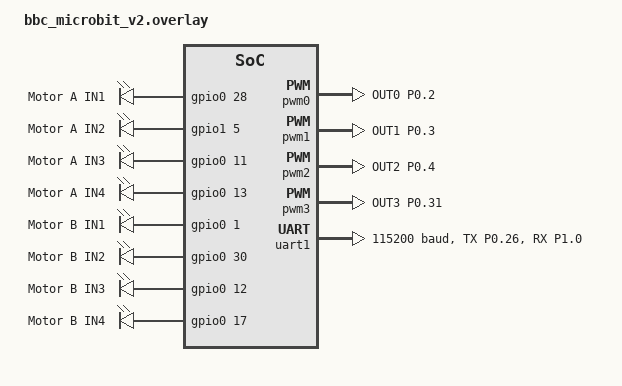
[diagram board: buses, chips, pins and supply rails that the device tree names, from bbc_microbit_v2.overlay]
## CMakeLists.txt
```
cmake_minimum_required(VERSION 3.20.0)
find_package(Zephyr REQUIRED HINTS $ENV{ZEPHYR_BASE})

project(Driving_car)

target_sources(app PRIVATE src/main.c src/pwm.c src/motor_controls.c src/serial.c src/gatekeeper.c src/car_control.c src/receiver_ble.c)
```

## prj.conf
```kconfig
CONFIG_GPIO=y
CONFIG_PWM=y
CONFIG_PRINTK=y
CONFIG_SERIAL=y
CONFIG_LOG=y
CONFIG_UART_INTERRUPT_DRIVEN=y

#wang

CONFIG_CONSOLE=y
CONFIG_UART_CONSOLE=y
CONFIG_SYSTEM_WORKQUEUE_STACK_SIZE=2048
CONFIG_MAIN_STACK_SIZE=2048
CONFIG_HEAP_MEM_POOL_SIZE=4096

# Bluetooth - Central (receiver scanner)
CONFIG_BT=y
CONFIG_BT_CENTRAL=y
CONFIG_BT_DEVICE_NAME="BLE_Car"
CONFIG_BT_MAX_CONN=1
CONFIG_BT_GATT_CLIENT=y
CONFIG_BT_GATT_DYNAMIC_DB=y

# Buffer
CONFIG_BT_L2CAP_TX_BUF_COUNT=8
CONFIG_BT_L2CAP_TX_MTU=65
CONFIG_BT_BUF_ACL_RX_SIZE=70
CONFIG_BT_BUF_ACL_TX_SIZE=27

# Connection timeout
CONFIG_BT_CREATE_CONN_TIMEOUT=15

# Scan
CONFIG_BT_SCAN=y
```

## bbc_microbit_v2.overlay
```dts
/{
    motor_direction_pins{

        compatible = "gpio-leds";
        motor_a_in1: motor_a_in1 {
            gpios = <&gpio0 28 0>; // edgeconnector P4;
            label = "Motor A IN1";
        };
        motor_a_in2: motor_a_in2 {
            gpios = <&gpio1 5 0>; // edgeconnector P6;
            label = "Motor A IN2";
        };
        motor_a_in3: motor_a_in3 {
            gpios = <&gpio0 11 0>; // edgeconnector P7;
            label = "Motor A IN3";
        };
        motor_a_in4: motor_a_in4 {
            gpios = <&gpio0 13 0>; // edgeconnector P15;
            label = "Motor A IN4";
        };
        motor_b_in1: motor_b_in1 {
            gpios = <&gpio0 1 0>; // edgeconnector P14
            label = "Motor B IN1";
        };
        motor_b_in2: motor_b_in2 {
            gpios = <&gpio0 30 0>; // edgeconnector P10
            label = "Motor B IN2";
        };
        motor_b_in3: motor_b_in3 {
            gpios = <&gpio0 12 0>; // edgeconnector P12;
            label = "Motor B IN3";
        };
        motor_b_in4: motor_b_in4 {
            gpios = <&gpio0 17 0>; // edgeconnector P13;
            label = "Motor B IN4";
        };
    };
};

&i2c1 { status = "disabled"; };
&spi1 { status = "disabled"; };
&adc { status = "disabled"; };





&pinctrl {
    pwm0_default_alt: pwm0_default_alt {
        group1 {
            psels = <NRF_PSEL(PWM_OUT0, 0, 2)>; //on edgeconnector P0
            nordic,invert;
        };
    };
    pwm0_sleep_alt: pwm0_sleep_alt {
        group1 {
            psels = <NRF_PSEL(PWM_OUT0, 0, 2)>; //on edgeconnector P0
            low-power-enable;
        };
    };

    pwm1_default_alt: pwm1_default_alt {
        group1 {
            psels = <NRF_PSEL(PWM_OUT1, 0, 3)>; //on edgeconnector P1
            nordic,invert;
        };
    };

    pwm1_sleep_alt: pwm1_sleep_alt {
        group1 {
            psels = <NRF_PSEL(PWM_OUT1, 0, 3)>; //on edgeconnector P1
            low-power-enable;
        };
    };

    pwm2_default_alt: pwm2_default_alt {
        group1 {
            psels = <NRF_PSEL(PWM_OUT2, 0, 4)>; //on edgeconnector P2
            nordic,invert;
        };
    };

    pwm2_sleep_alt: pwm2_sleep_alt {
        group1 {
            psels = <NRF_PSEL(PWM_OUT2, 0, 4)>; //on edgeconnector P2
            low-power-enable;
        };
    };

    pwm3_default_alt: pwm3_default_alt {
        group1 {
            psels = <NRF_PSEL(PWM_OUT3, 0, 31)>; //on edgeconnector P3
            nordic,invert;
        };
    };

    pwm3_sleep_alt: pwm3_sleep_alt {
        group1 {
            psels = <NRF_PSEL(PWM_OUT3, 0, 31)>; //on edgeconnector P3
            low-power-enable;
        };
    };

    uart1_default: uart1_default {
        group1 {
            psels = <NRF_PSEL(UART_TX, 0, 26)>, 
                    <NRF_PSEL(UART_RX, 1, 0)>;
        };
    };

    uart1_sleep: uart1_sleep {
        group1 {
            psels = <NRF_PSEL(UART_TX, 0, 26)>,
                    <NRF_PSEL(UART_RX, 1, 0)>;
            low-power-enable;
        };
    };
};


&pwm0 {
    status = "okay";
    pinctrl-0 = <&pwm0_default_alt>;
    pinctrl-1 = <&pwm0_sleep_alt>;
    pinctrl-names = "default", "sleep";
    label = "PWM_0";
};
&pwm1 {
    status = "okay";
    pinctrl-0 = <&pwm1_default_alt>;
    pinctrl-1 = <&pwm1_sleep_alt>;
    pinctrl-names = "default", "sleep";
    label = "PWM_1";
};
&pwm2 {
    status = "okay";
    pinctrl-0 = <&pwm2_default_alt>;
    pinctrl-1 = <&pwm2_sleep_alt>;
    pinctrl-names = "default", "sleep";
    label = "PWM_2";
};
&pwm3 {
    status = "okay";
    pinctrl-0 = <&pwm3_default_alt>;
    pinctrl-1 = <&pwm3_sleep_alt>;
    pinctrl-names = "default", "sleep";
    label = "PWM_3";
};
&uart1 {
    status = "okay";
    current-speed = <115200>;
    pinctrl-0 = <&uart1_default>;
    pinctrl-1 = <&uart1_sleep>;
    pinctrl-names = "default", "sleep";
};
```

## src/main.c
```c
// Group project for Smart Systems 2025


#include <zephyr/kernel.h>
#include <zephyr/sys/printk.h>
#include <zephyr/drivers/gpio.h>
#include <zephyr/drivers/pwm.h>
#include <stdint.h>
#include "pwm.h"
#include "motor_controls.h"
#include "serial.h"
#include "gatekeeper.h"
#include <zephyr/device.h>
#include <zephyr/drivers/uart.h>
#include "car_control.h"

int main(void)
{
    
    Serial_begin(); 
    car_controller_init();
    car_controller_start();

    while (1) {
    car_controller_check_timeout();
    timeout_control();
    k_msleep(50);
    };
    
    return 0;
}

// int main(){
//     Serial_begin();
//     uart_send_str("F\n");
//     printk("Sent\n");
//     return 0;
// }
```

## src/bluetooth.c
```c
#include <zephyr/kernel.h>
#include <zephyr/sys/printk.h>
#include <zephyr/bluetooth/bluetooth.h>
#include <zephyr/bluetooth/conn.h>
#include <zephyr/bluetooth/uuid.h>
#include <zephyr/bluetooth/gatt.h>
#include <bluetooth/services/nus.h>

#include "bluetooth.h"
#include "motor_controls.h" // Access to Drive_motors()

static struct bt_conn_cb conn_callback = {
    .connected = connected;
    .disconnected = disconnected;
}

//function for bluetooth signal{
void bt_recive_cb(struct bt_conn *conn, const uint8_t *const data, uint16_t len){
    if (len == 0) {
        return;
    }
    if(command == 'M'){
        manual_overide_flag = !manual_overide_flag;

        if(manual_overide_flag){
            printk("Manual_mode_enabled\n");
        }else{
            printk("manual_mode_disabled\n");
        }
        return;
    }

    if(!manual_overide_flag){
        return;
    }

    switch(command){
        case 'F':
            Drive_motors(Forward, 100);
            break;
        case 'B':
            Drive_motors(Backward, 100);
            break;
        case 'L':
            Drive_motors(Left, 100);
            break;
        case 'R':
            Drive_motors(Right, 100);
            break;
        case 'S':
            Stop_motors();
            break;
        default:
        break;
    }
}
```

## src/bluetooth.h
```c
#ifndef BLUETOOTH_H
#define BLUETOOTH_H

#include <stdbool.h>

extern volatile bool manual_overide_flag;

int bluetooth_begin(void);

#endif
```

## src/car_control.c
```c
/*
* Author: Wang King Son
* Link to his github: https://github.com/WangKKing3
* 
* Acknowledgement:
* This file does use the motor_controls, pwm, and gatekeeper libraries that were produced by Oskaras Dauneckas
*/

#include <zephyr/kernel.h>
#include <zephyr/sys/printk.h>

#include "car_control.h"
#include "receiver_ble.h"
#include "motor_controls.h"
#include "gatekeeper.h"


#define TIMEOUT_MS 1000      /* Stopp motorene hvis ingen data på 1 sekund */

static Motor_direction current_dir = Stop;
static uint8_t current_speed = 0;
static int64_t last_rx = 0;
static bool motors_on = false;

static const char *dir_name(Motor_direction d)
{
    switch (d) {
        case Forward: return "FWD";
        case Backward: return "BWD";
        case Rotate_Right: return "ROT_R";
        case Rotate_Left: return "ROT_L";
        case Right: return "RIGHT";
        case Left: return "LEFT";
        case Stop: return "STOP";
        case Idle: return "IDLE";
        default: return "?";
    }
}

static void on_drive_data(Motor_direction dir, uint8_t speed)
{
    last_rx = k_uptime_get();

    

    if(dir == Idle){
        // printk("Ignoring IDLE command.\n");
        // Stop_motors();
        motors_on = false;
        return;
    }

    bluetouth_signal_recived();

    printk("[RX] %-5s %3d%%\n", dir_name(dir), speed);

    if(dir == Stop){
        if (motors_on) {
            Stop_motors();
            motors_on = false;
        }
    } else {
        Drive_motors(dir, speed);
        motors_on = true;
    }
}

int car_controller_init(void)
{
    printk("\n=== BLE Car Receiver ===\n");
    printk("Receives Motor_direction directly\n\n");

    /* Init motors */
    if (motors_start() != 0) {
        printk("Motor init failed\n");
        return -1;
    }
    printk("Motors ready\n");

    /* Init BLE */
    if (ble_init(on_drive_data) != 0) {
        printk("BLE init failed\n");
        return -1;
    }
    printk("BLE initialized\n");
    return 0;

}

void car_controller_start(void){
    ble_start_scan();
}

void car_controller_check_timeout(void){ 
    /* Main loop - bare timeout sjekk */
    if (last_rx > 0 && motors_on) {
        int64_t age = k_uptime_get() - last_rx;
        if (age > TIMEOUT_MS) {
            printk("[TIMEOUT] Stopping\n");
            Stop_motors();
            motors_on = false;
            
        }
    }
}
```

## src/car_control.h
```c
/*
* Author: Wang King Son
* Link to his github: https://github.com/WangKKing3
* 
* Acknowledgement:
* This file does use the motor_controls, pwm, and gatekeeper libraries that were produced by Oskaras Dauneckas
*/

#ifndef CAR_CONTROLLER_H
#define CAR_CONTROLLER_H

#include <stdint.h>

int car_controller_init(void);

void car_controller_start(void);

void car_controller_check_timeout(void);
#endif
```

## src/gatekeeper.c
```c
#include <zephyr/kernel.h>
#include <zephyr/sys/printk.h>
#include "gatekeeper.h"
#include "motor_controls.h"
#include "serial.h"

static bool bt_active = false;
static int64_t bt_timer_until_timeout = 0;

#define CONTROL_TIMEOUT_MS 500

void bluetouth_signal_recived(){
    bt_timer_until_timeout = k_uptime_get();
    if(!bt_active){
        printk("Bluetooth control activated.\n");
        bt_active = true;
        
    }
}

void bluetouth_release(){
    if(bt_active){
        bt_active = false;
        printk("Bluetooth control released.\n");
        execute_serial_last_action();
    }
}

void timeout_control(){
    if(bt_active){
        int64_t current_time = k_uptime_get();
        if(current_time - bt_timer_until_timeout >= CONTROL_TIMEOUT_MS){
            bt_active = false;
            printk("Bluetooth control deactivated due to timeout.\n");
            execute_serial_last_action();
        }
    }
}

bool bluetouth_in_control(){
    return bt_active;
}
```

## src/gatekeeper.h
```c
#ifndef GATEKEEPER_H
#define GATEKEEPER_H

#include <stdbool.h>

void bluetouth_signal_recived();
void bluetouth_release();
void timeout_control();

bool bluetouth_in_control();

#endif
```

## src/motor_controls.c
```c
#include <zephyr/kernel.h>
#include <zephyr/sys/printk.h>
#include <zephyr/drivers/gpio.h>
#include <zephyr/drivers/pwm.h>
#include <stdint.h>

#include "pwm.h"
#include "motor_controls.h"

static const struct gpio_dt_spec motor_a_in1 = GPIO_DT_SPEC_GET(DT_NODELABEL(motor_a_in1), gpios);
static const struct gpio_dt_spec motor_a_in2 = GPIO_DT_SPEC_GET(DT_NODELABEL(motor_a_in2), gpios);
static const struct gpio_dt_spec motor_a_in3 = GPIO_DT_SPEC_GET(DT_NODELABEL(motor_a_in3), gpios);
static const struct gpio_dt_spec motor_a_in4 = GPIO_DT_SPEC_GET(DT_NODELABEL(motor_a_in4), gpios);

static const struct gpio_dt_spec motor_b_in1 = GPIO_DT_SPEC_GET(DT_NODELABEL(motor_b_in1), gpios);
static const struct gpio_dt_spec motor_b_in2 = GPIO_DT_SPEC_GET(DT_NODELABEL(motor_b_in2), gpios);
static const struct gpio_dt_spec motor_b_in3 = GPIO_DT_SPEC_GET(DT_NODELABEL(motor_b_in3), gpios);
static const struct gpio_dt_spec motor_b_in4 = GPIO_DT_SPEC_GET(DT_NODELABEL(motor_b_in4), gpios);

typedef struct {
    const struct gpio_dt_spec *in1;
    const struct gpio_dt_spec *in2;
    int (*pwm_write)(uint32_t value);
} motor_channel_t;

static const motor_channel_t motors[] = {
    {&motor_a_in1, &motor_a_in2, pwm_write_front_a},
    {&motor_a_in3, &motor_a_in4, pwm_write_front_b},
    {&motor_b_in1, &motor_b_in2, pwm_write_back_a},
    {&motor_b_in3, &motor_b_in4, pwm_write_back_b}
};

static uint32_t percentage_to_pwm(uint32_t speed_percentage){
    if(speed_percentage > 100){
        speed_percentage = 100;
    }
    return (speed_percentage * pwm_period_ns) / 100;
}

int motors_start(){
    const struct gpio_dt_spec *gpio_pins[] = {
        &motor_a_in1, &motor_a_in2,
        &motor_a_in3, &motor_a_in4,
        &motor_b_in1, &motor_b_in2,
        &motor_b_in3, &motor_b_in4

    };
    int check = 0;

    for(size_t i = 0; i < ARRAY_SIZE(gpio_pins); i++){
        if (!gpio_is_ready_dt(gpio_pins[i])){
            printk("Error: One or more GPIO devices not ready.\n");
            return -1;
        }
        int check = gpio_pin_configure_dt(gpio_pins[i], GPIO_OUTPUT_INACTIVE);
        if(check < 0){
            printk("Error: Failed to configure GPIO pin %d.\n", i);
            return -1;
        }
    }

    if(pwm_begin() != 0){
        return -1;
    }
    return 0;
}

void Drive_one_motor(Motor_name motor, Motor_direction direction, uint32_t speed_percentage){
    if(motor >= ARRAY_SIZE(motors)){
        printk("Error: Invalid motor selection.\n");
        return; 
    }
    const motor_channel_t *selected_motor = &motors[motor];
    uint32_t pwm_value = percentage_to_pwm(speed_percentage);

    switch (direction){
        case Forward:
            gpio_pin_set_dt(selected_motor->in1, 1);
            gpio_pin_set_dt(selected_motor->in2, 0);
            break;
        case Backward:
            gpio_pin_set_dt(selected_motor->in1, 0);
            gpio_pin_set_dt(selected_motor->in2, 1);
            break;
        case Stop:
            gpio_pin_set_dt(selected_motor->in1, 0);
            gpio_pin_set_dt(selected_motor->in2, 0);
            pwm_value = 0;
            break;
        default:
            gpio_pin_set_dt(selected_motor->in1, 0);
            gpio_pin_set_dt(selected_motor->in2, 0);
            pwm_value = 0;
            break;
    }
    if(selected_motor->pwm_write(pwm_value) != 0){
    printk("Error: Failed to set PWM for motor %d.\n", motor);
    }
}

void Drive_motors(Motor_direction direction, uint32_t speed_percentage){
    if(direction == Stop){
        Stop_motors();
        return;
    }
    switch(direction){
        case Rotate_Right:
            Drive_one_motor(Motor_Left_Front, Forward, speed_percentage);
            Drive_one_motor(Motor_Left_Back, Forward, speed_percentage);
            Drive_one_motor(Motor_Right_Front, Backward, speed_percentage);
            Drive_one_motor(Motor_Right_Back, Backward, speed_percentage);
            return;
        case Rotate_Left:
            Drive_one_motor(Motor_Left_Front, Backward, speed_percentage);
            Drive_one_motor(Motor_Left_Back, Backward, speed_percentage);
            Drive_one_motor(Motor_Right_Front, Forward, speed_percentage);
            Drive_one_motor(Motor_Right_Back, Forward, speed_percentage);
            return;
        case Right:
            Drive_one_motor(Motor_Left_Front, Forward, speed_percentage);
            Drive_one_motor(Motor_Left_Back, Backward, speed_percentage);
            Drive_one_motor(Motor_Right_Front, Backward, speed_percentage);
            Drive_one_motor(Motor_Right_Back, Forward, speed_percentage);
            return;
        case Left:
            Drive_one_motor(Motor_Left_Front, Backward, speed_percentage);
            Drive_one_motor(Motor_Left_Back, Forward, speed_percentage);
            Drive_one_motor(Motor_Right_Front, Forward, speed_percentage);
            Drive_one_motor(Motor_Right_Back, Backward, speed_percentage);
            return;
        default:
            break;
    }
    Drive_one_motor(Motor_Left_Front, direction, speed_percentage);
    Drive_one_motor(Motor_Left_Back, direction, speed_percentage);
    Drive_one_motor(Motor_Right_Front, direction, speed_percentage);
    Drive_one_motor(Motor_Right_Back, direction, speed_percentage);
}

void Stop_motors(){
    Drive_one_motor(Motor_Left_Front, Stop, 0);
    Drive_one_motor(Motor_Left_Back, Stop, 0);
    Drive_one_motor(Motor_Right_Front, Stop, 0);
    Drive_one_motor(Motor_Right_Back, Stop, 0);
}
```

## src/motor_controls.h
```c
#ifndef MOTOR_CONTROLS_H
#define MOTOR_CONTROLS_H

typedef enum {
    Forward,
    Backward,
    Rotate_Right,
    Rotate_Left,
    Right,
    Left,
    Stop,
    Idle
}Motor_direction;

typedef enum{
    Motor_Left_Front,
    Motor_Left_Back,
    Motor_Right_Front,
    Motor_Right_Back
}Motor_name;

int motors_start();

void Drive_one_motor(Motor_name motor, Motor_direction direction, uint32_t speed_percentage);

void Drive_motors(Motor_direction direction, uint32_t speed_percentage);

void Stop_motors();

#endif 
```

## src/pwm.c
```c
#include <stdint.h>
#include <zephyr/sys/printk.h>
#include <zephyr/device.h>
#include <zephyr/drivers/pwm.h>
#include <stdio.h>
#include "pwm.h"
static const struct device *front_a_speed;
static const struct device *front_b_speed;
static const struct device *back_a_speed;
static const struct device *back_b_speed;

int pwm_begin(){
    front_a_speed = device_get_binding("PWM_0");
    front_b_speed = device_get_binding("PWM_1");
    back_a_speed = device_get_binding("PWM_2");
    back_b_speed = device_get_binding("PWM_3");

    if (front_a_speed == NULL || front_b_speed == NULL || back_a_speed == NULL || back_b_speed == NULL){  
        printk("Error: One or more PWM devices not found.\n");
        return -1; // PWM devices not found
    }else{
        printk("All PWM devices are ready.\n");
        return 0; // All PWM devices ready
    }
}

int pwm_write_front_a(uint32_t value) {
    return pwm_set(front_a_speed, 0, pwm_period_ns, value, 0);
}

int pwm_write_front_b(uint32_t value) {
    return pwm_set(front_b_speed, 1, pwm_period_ns, value, 0);
}

int pwm_write_back_a(uint32_t value) {
    return pwm_set(back_a_speed, 2, pwm_period_ns, value, 0);
}

int pwm_write_back_b(uint32_t value) {
    return pwm_set(back_b_speed, 3, pwm_period_ns, value, 0);
}
```

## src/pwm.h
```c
#ifndef __PWM_H
#define __PWM_H


#define pwm_period_ns 1000000 
#define pwm_period_ns_half (pwm_period_ns / 2) // 50% duty cycle
#define pwm_period_ns_quarter (pwm_period_ns / 4) // 25% duty cycle

int pwm_begin();

int pwm_write_front_a(uint32_t value);
int pwm_write_front_b(uint32_t value);
int pwm_write_back_a(uint32_t value);   
int pwm_write_back_b(uint32_t value);

int pwm_write(uint32_t value);
#endif /* __PWM_H */
```

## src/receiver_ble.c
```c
/*
* Author: Wang King Son
* Link to his github: https://github.com/WangKKing3
* 
* Acknowledgement:
* This file includes example code derrived from the Zephyr Project 
* Pong sample
*/

#include "receiver_ble.h"
#include <zephyr/kernel.h>
#include <zephyr/sys/printk.h>
#include <zephyr/bluetooth/bluetooth.h>
#include <zephyr/bluetooth/conn.h>
#include <zephyr/bluetooth/gatt.h>
#include <zephyr/bluetooth/uuid.h>
#include <string.h>

#define DRIVE_SVC_UUID \
    BT_UUID_128_ENCODE(0x12345678, 0x1234, 0x5678, 0x1234, 0x56789abcdef0)
#define DRIVE_CHR_UUID \
    BT_UUID_128_ENCODE(0x12345678, 0x1234, 0x5678, 0x1234, 0x56789abcdef1)

static struct bt_uuid_128 svc_uuid = BT_UUID_INIT_128(DRIVE_SVC_UUID);
static struct bt_uuid_128 chr_uuid = BT_UUID_INIT_128(DRIVE_CHR_UUID);
static struct bt_uuid *ccc_uuid = BT_UUID_GATT_CCC;

static struct bt_gatt_discover_params disc_params;
static struct bt_gatt_subscribe_params sub_params;
static struct bt_conn *conn;
static drive_callback_t user_cb;

/* Packet struct - må matche sender */
struct drive_packet {
    uint8_t direction;
    uint8_t speed;
} __packed;

/* Reconnect */
static void rescan_work_fn(struct k_work *work);
K_WORK_DELAYABLE_DEFINE(rescan_work, rescan_work_fn);

static void rescan_work_fn(struct k_work *work)
{
    if (!conn) ble_start_scan();
}

/* Notification */
static uint8_t on_notify(struct bt_conn *c, struct bt_gatt_subscribe_params *p,
                         const void *buf, uint16_t len)
{
    if (!buf) return BT_GATT_ITER_STOP;

    if (len == sizeof(struct drive_packet) && user_cb) {
        const struct drive_packet *pkt = buf;
        user_cb((Motor_direction)pkt->direction, pkt->speed);
    }
    return BT_GATT_ITER_CONTINUE;
}

/* Discovery */
static uint8_t on_discover(struct bt_conn *c, const struct bt_gatt_attr *attr,
                           struct bt_gatt_discover_params *p)
{
    if (!attr) return BT_GATT_ITER_STOP;

    if (p->uuid == &svc_uuid.uuid) {
        disc_params.uuid = &chr_uuid.uuid;
        disc_params.start_handle = attr->handle + 1;
        disc_params.type = BT_GATT_DISCOVER_CHARACTERISTIC;
        bt_gatt_discover(c, &disc_params);
    } else if (p->uuid == &chr_uuid.uuid) {
        disc_params.uuid = ccc_uuid;
        disc_params.start_handle = attr->handle + 2;
        disc_params.type = BT_GATT_DISCOVER_DESCRIPTOR;
        sub_params.value_handle = attr->handle + 1;
        bt_gatt_discover(c, &disc_params);
    } else {
        sub_params.notify = on_notify;
        sub_params.value = BT_GATT_CCC_NOTIFY;
        sub_params.ccc_handle = attr->handle;
        int err = bt_gatt_subscribe(c, &sub_params);
        if (!err || err == -EALREADY) {
            printk("Subscribed - READY!\n");
        }
    }
    return BT_GATT_ITER_STOP;
}

/* Scan */
static void on_device_found(const bt_addr_le_t *addr, int8_t rssi, uint8_t type,
                            struct net_buf_simple *ad)
{
    if (conn || type != BT_GAP_ADV_TYPE_ADV_IND) return;

    while (ad->len > 1) {
        uint8_t len = net_buf_simple_pull_u8(ad);
        if (len == 0 || len > ad->len) return;
        uint8_t ad_type = net_buf_simple_pull_u8(ad);

        if (ad_type == BT_DATA_UUID128_ALL && len == 17) {
            if (!memcmp(ad->data, svc_uuid.val, 16)) {
                printk("Found joystick (RSSI %d)\n", rssi);
                bt_le_scan_stop();
                int err = bt_conn_le_create(addr, BT_CONN_LE_CREATE_CONN,
                                            BT_LE_CONN_PARAM_DEFAULT, &conn);
                if (err) k_work_schedule(&rescan_work, K_MSEC(500));
                return;
            }
        }
        net_buf_simple_pull(ad, len - 1);
    }
}

/* Connection */
static void on_connected(struct bt_conn *c, uint8_t err)
{
    if (err) {
        printk("Connect failed: %d\n", err);
        if (conn) { bt_conn_unref(conn); conn = NULL; }
        k_work_schedule(&rescan_work, K_MSEC(200));
        return;
    }
    printk("Connected\n");

    disc_params.uuid = &svc_uuid.uuid;
    disc_params.func = on_discover;
    disc_params.start_handle = BT_ATT_FIRST_ATTRIBUTE_HANDLE;
    disc_params.end_handle = BT_ATT_LAST_ATTRIBUTE_HANDLE;
    disc_params.type = BT_GATT_DISCOVER_PRIMARY;
    bt_gatt_discover(conn, &disc_params);
}

static void on_disconnected(struct bt_conn *c, uint8_t reason)
{
    printk("Disconnected: 0x%02x\n", reason);
    if (conn) { bt_conn_unref(conn); conn = NULL; }
    k_work_schedule(&rescan_work, K_MSEC(100));
}

static struct bt_conn_cb conn_cb = {
    .connected = on_connected,
    .disconnected = on_disconnected,
};

/* Public API */
int ble_init(drive_callback_t cb)
{
    user_cb = cb;
    int err = bt_enable(NULL);
    if (err) return err;
    printk("Bluetooth ready\n");
    bt_conn_cb_register(&conn_cb);
    return 0;
}

int ble_start_scan(void)
{
    if (conn) return 0;
    printk("Scanning...\n");
    return bt_le_scan_start(BT_LE_SCAN_PASSIVE, on_device_found);
}

bool ble_is_connected(void)
{
    return conn != NULL;
}
```

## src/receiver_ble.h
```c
/*
* Author: Wang King Son
* Link to his github: https://github.com/WangKKing3
* 
* Acknowledgement:
* This file includes example code derrived from the Zephyr Project 
* Pong sample
*/

#ifndef RECEIVER_BLE_H
#define RECEIVER_BLE_H

#include <stdint.h>
#include <stdbool.h>
#include "motor_controls.h"


typedef void (*drive_callback_t)(Motor_direction dir, uint8_t speed);

int ble_init(drive_callback_t cb);
int ble_start_scan(void);
bool ble_is_connected(void);

#endif
```
